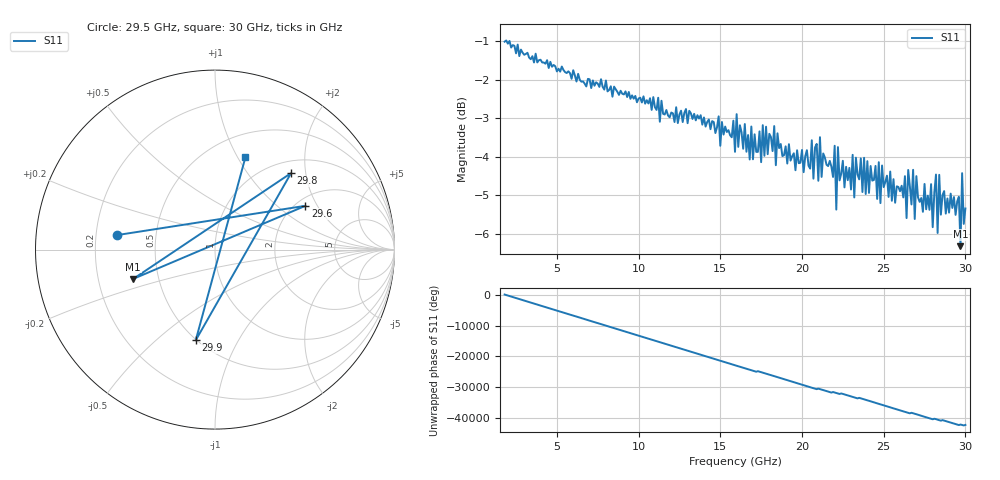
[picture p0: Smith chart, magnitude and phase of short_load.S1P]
! C:\Users\Focus\Desktop\Focus Traning\LOW FREQUENCY TUNERS\LOAD-PULL CALIBRATION\02-08-2024\focus_TRL\short_load.S1P
! measured on: 08/02/24 14:54:36
# GHZ S MA R 50
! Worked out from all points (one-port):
!   283 points, 1.8 GHz to 30 GHz, reference 50 ohm
!   lowest |S11| = -6.3 dB at 29.7 GHz (marker M1), VSWR 2.87, Z = 17.9 - j7.6 ohm
!   |S11| at or under -10 dB: nowhere
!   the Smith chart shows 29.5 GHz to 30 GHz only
!   S11 on the Smith chart (normalised r, x): 29.5 GHz: 0.29, +0.07; 29.6 GHz: 2.25, +1.60; 29.8 GHz: 1.24, +1.66; 29.9 GHz: 0.49, -0.68; 30 GHz: 0.74, +1.08
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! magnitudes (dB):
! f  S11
! 1.8 GHz  -1.0
! 5.4 GHz  -1.8
! 8.9 GHz  -2.3
! 12.4 GHz  -3.1
! 15.9 GHz  -3.9
! 16 GHz  -2.9
! 19.5 GHz  -3.9
! 23 GHz  -4.8
! 24.7 GHz  -4.1
! 24.8 GHz  -5.2
! 26.3 GHz  -4.5
! 26.4 GHz  -5.6
! 26.5 GHz  -4.3
! 26.8 GHz  -4.3
! 26.9 GHz  -5.6
! 27 GHz  -4.5
! 27.9 GHz  -4.7
! 28 GHz  -5.8
! 28.2 GHz  -4.5
! 28.3 GHz  -6.0
! 28.4 GHz  -4.5
! 28.5 GHz  -5.5
! 29.5 GHz  -5.2
! 29.6 GHz  -5.0
! 29.7 GHz  -6.3
! 29.8 GHz  -4.4
! 29.9 GHz  -5.7
! 30 GHz  -5.3
